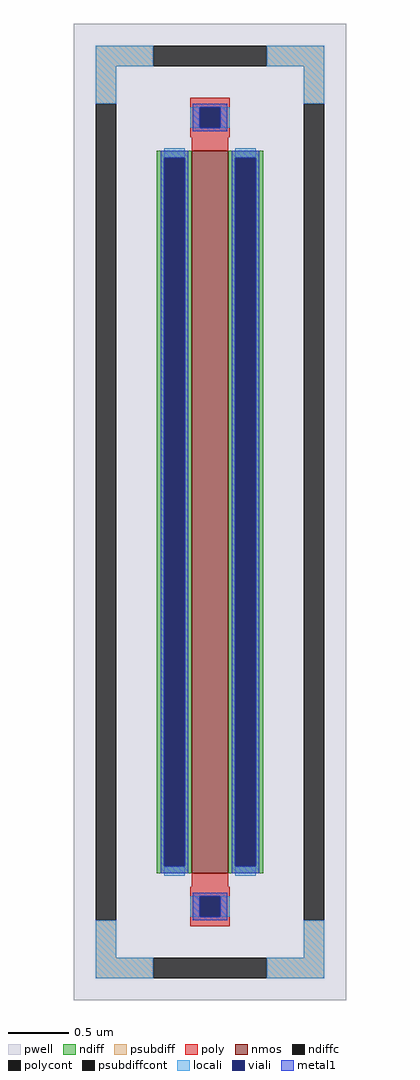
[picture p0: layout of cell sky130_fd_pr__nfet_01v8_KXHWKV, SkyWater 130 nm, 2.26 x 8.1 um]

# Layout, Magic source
magic
tech sky130A
magscale 1 2
<< pwell >>
rect -226 -810 226 810
<< nmos >>
rect -30 -600 30 600
<< ndiff >>
rect -88 588 -30 600
rect -88 -588 -76 588
rect -42 -588 -30 588
rect -88 -600 -30 -588
rect 30 588 88 600
rect 30 -588 42 588
rect 76 -588 88 588
rect 30 -600 88 -588
<< ndiffc >>
rect -76 -588 -42 588
rect 42 -588 76 588
<< psubdiff >>
rect -190 740 -94 774
rect 94 740 190 774
rect -190 678 -156 740
rect 156 678 190 740
rect -190 -740 -156 -678
rect 156 -740 190 -678
rect -190 -774 -94 -740
rect 94 -774 190 -740
<< psubdiffcont >>
rect -94 740 94 774
rect -190 -678 -156 678
rect 156 -678 190 678
rect -94 -774 94 -740
<< poly >>
rect -33 672 33 688
rect -33 638 -17 672
rect 17 638 33 672
rect -33 622 33 638
rect -30 600 30 622
rect -30 -622 30 -600
rect -33 -638 33 -622
rect -33 -672 -17 -638
rect 17 -672 33 -638
rect -33 -688 33 -672
<< polycont >>
rect -17 638 17 672
rect -17 -672 17 -638
<< locali >>
rect -190 740 -94 774
rect 94 740 190 774
rect -190 678 -156 740
rect 156 678 190 740
rect -33 638 -17 672
rect 17 638 33 672
rect -76 588 -42 604
rect -76 -604 -42 -588
rect 42 588 76 604
rect 42 -604 76 -588
rect -33 -672 -17 -638
rect 17 -672 33 -638
rect -190 -740 -156 -678
rect 156 -740 190 -678
rect -190 -774 -94 -740
rect 94 -774 190 -740
<< viali >>
rect -17 638 17 672
rect -76 -588 -42 588
rect 42 -588 76 588
rect -17 -672 17 -638
<< metal1 >>
rect -29 672 29 678
rect -29 638 -17 672
rect 17 638 29 672
rect -29 632 29 638
rect -82 588 -36 600
rect -82 -588 -76 588
rect -42 -588 -36 588
rect -82 -600 -36 -588
rect 36 588 82 600
rect 36 -588 42 588
rect 76 -588 82 588
rect 36 -600 82 -588
rect -29 -638 29 -632
rect -29 -672 -17 -638
rect 17 -672 29 -638
rect -29 -678 29 -672
<< properties >>
string FIXED_BBOX -173 -757 173 757
string gencell sky130_fd_pr__nfet_01v8
string library sky130
string parameters w 6.0 l 0.3 m 1 nf 1 diffcov 100 polycov 100 guard 1 glc 1 grc 1 gtc 1 gbc 1 tbcov 100 rlcov 100 topc 1 botc 1 poverlap 0 doverlap 1 lmin 0.15 wmin 0.42 compatible {sky130_fd_pr__nfet_01v8 sky130_fd_pr__nfet_01v8_lvt  sky130_fd_bs_flash__special_sonosfet_star  sky130_fd_pr__nfet_g5v0d10v5 sky130_fd_pr__nfet_05v0_nvt  sky130_fd_pr__nfet_03v3_nvt} full_metal 1 viasrc 100 viadrn 100 viagate 100 viagb 0 viagr 0 viagl 0 viagt 0
<< end >>
